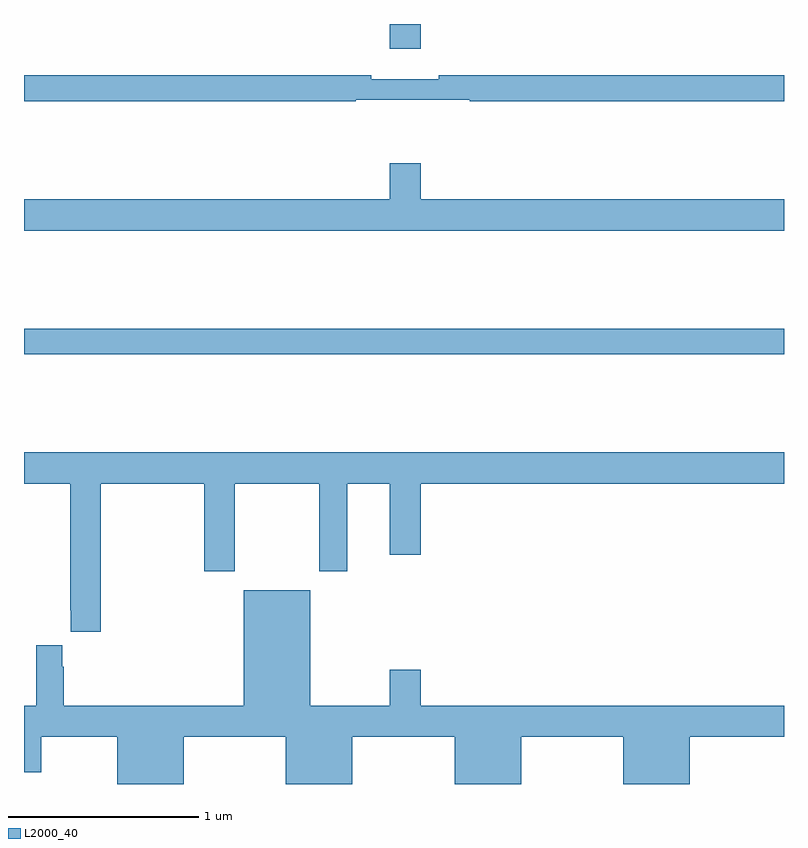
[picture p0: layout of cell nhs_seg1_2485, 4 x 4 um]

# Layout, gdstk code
import gdstk
lib = gdstk.Library(unit=1e-6, precision=1e-09)
def R(c, l, rs):  # rectangles x0, y0, x1, y1
    for r in rs: c.add(gdstk.rectangle(r[:2], r[2:], *l))
def P(c, l, *ps):  # polygons
    for p in ps: c.add(gdstk.Polygon(p, *l))
L2000_40 = (2000, 40)

nhs_seg1_2485 = lib.new_cell('nhs_seg1_2485')
R(nhs_seg1_2485, L2000_40, [(247,504.46,251,504.596), (248.924,506.07,249.088,506.199)])
P(nhs_seg1_2485, L2000_40, [(248.745,505.8),(249.345,505.8),(249.345,505.792),(251,505.792),(251,505.928),(249.184,505.928),(249.184,505.909),(248.828,505.909),(248.828,505.928),(247,505.928),(247,505.792),(248.745,505.792)],
  [(251,505.276),(249.088,505.276),(249.088,505.465),(248.924,505.465),(248.924,505.276),(247,505.276),(247,505.112),(251,505.112)],
  [(247.403,503.78),(247.949,503.78),(247.949,503.319),(248.109,503.319),(248.109,503.78),(248.554,503.78),(248.554,503.319),(248.701,503.319),(248.701,503.78),(248.924,503.78),(248.924,503.406),(249.088,503.406),(249.088,503.78),(251,503.78),(251,503.944),(247,503.944),(247,503.78),(247.243,503.78),(247.243,503.113),(247.247,503.113),(247.247,503.001),(247.403,503.001)],
  [(247.84,502.448),(248.378,502.448),(248.378,502.199),(248.728,502.199),(248.728,502.448),(249.266,502.448),(249.266,502.199),(249.616,502.199),(249.616,502.448),(250.154,502.448),(250.154,502.199),(250.504,502.199),(250.504,502.448),(251,502.448),(251,502.612),(249.088,502.612),(249.088,502.801),(248.924,502.801),(248.924,502.612),(248.506,502.612),(248.506,503.218),(248.156,503.218),(248.156,502.612),(247.208,502.612),(247.208,502.817),(247.201,502.817),(247.201,502.93),(247.064,502.93),(247.064,502.612),(247,502.612),(247,502.26),(247.09,502.26),(247.09,502.448),(247.49,502.448),(247.49,502.199),(247.84,502.199)])

lib.write_gds('nhs_seg1_2485.gds')
